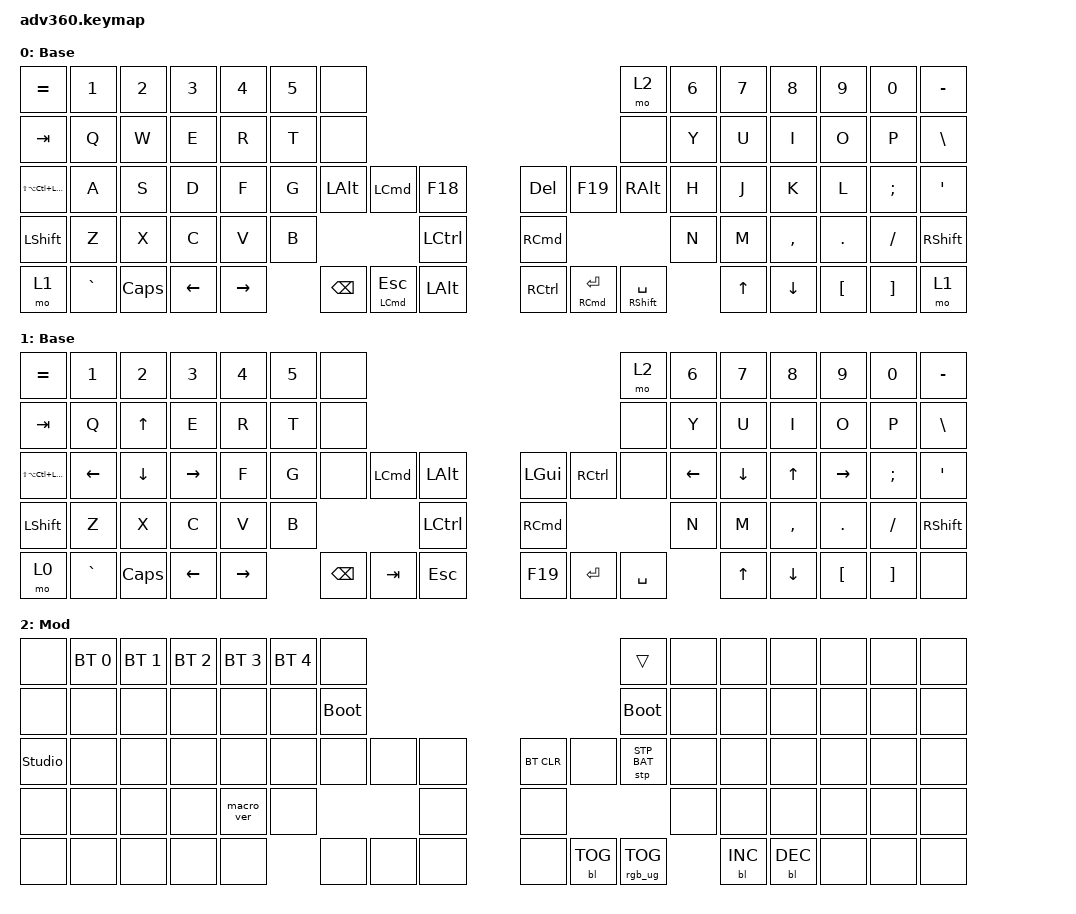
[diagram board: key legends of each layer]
#include <dt-bindings/zmk/stp.h>
#include <behaviors.dtsi>
#include <dt-bindings/zmk/backlight.h>
#include <dt-bindings/zmk/bt.h>
#include <dt-bindings/zmk/keys.h>
#include <dt-bindings/zmk/rgb.h>

/ {
    behaviors {
        #include "macros.dtsi"
      #include "version.dtsi"

        hm: homerow_mods {
            compatible = "zmk,behavior-hold-tap";
            label = "HOMEROW_MODS";
            #binding-cells = <2>;
            tapping-term-ms = <200>;
            quick_tap_ms = <175>;
            flavor = "tap-preferred";
            bindings = <&kp>, <&kp>;
        };
    };

    keymap {
        compatible = "zmk,keymap";

        default_layer {
            display-name = "Base";
            bindings = <
&kp EQUAL                     &kp N1     &kp N2    &kp N3    &kp N4     &kp N5  &none                                                                                                  &mo 2                  &kp N6  &kp N7  &kp N8     &kp N9    &kp N0    &kp MINUS
&kp TAB                       &kp Q      &kp W     &kp E     &kp R      &kp T   &none                                                                                                  &none                  &kp Y   &kp U   &kp I      &kp O     &kp P     &kp BSLH
&kp LS(LA(LC(LEFT_COMMAND)))  &kp A      &kp S     &kp D     &kp F      &kp G   &kp LEFT_ALT   &kp LEFT_COMMAND      &kp F18               &kp DEL            &kp F19                  &kp RIGHT_ALT          &kp H   &kp J   &kp K      &kp L     &kp SEMI  &kp SQT
&kp LSHFT                     &kp Z      &kp X     &kp C     &kp V      &kp B                                        &kp LEFT_CONTROL      &kp RIGHT_COMMAND                                                  &kp N   &kp M   &kp COMMA  &kp DOT   &kp FSLH  &kp RSHFT
&mo 1                         &kp GRAVE  &kp CAPS  &kp LEFT  &kp RIGHT          &kp BACKSPACE  &mt LEFT_COMMAND ESC  &kp LEFT_ALT          &kp RCTRL          &mt RIGHT_COMMAND ENTER  &mt RIGHT_SHIFT SPACE          &kp UP  &kp DOWN   &kp LBKT  &kp RBKT  &mo 1
            >;
        };

        hjklarrow {
            display-name = "Base";
            bindings = <
&kp EQUAL                     &kp N1          &kp N2          &kp N3           &kp N4     &kp N5  &none                                                                                   &mo 2      &kp N6          &kp N7    &kp N8     &kp N9     &kp N0    &kp MINUS
&kp TAB                       &kp Q           &kp UP_ARROW    &kp E            &kp R      &kp T   &none                                                                                   &none      &kp Y           &kp U     &kp I      &kp O      &kp P     &kp BSLH
&kp LS(LA(LC(LEFT_COMMAND)))  &kp LEFT_ARROW  &kp DOWN_ARROW  &kp RIGHT_ARROW  &kp F      &kp G   &none     &kp LEFT_COMMAND  &kp LEFT_ALT          &kp LGUI           &kp RIGHT_CONTROL  &none      &kp LEFT_ARROW  &kp DOWN  &kp UP     &kp RIGHT  &kp SEMI  &kp SQT
&kp LSHFT                     &kp Z           &kp X           &kp C            &kp V      &kp B                               &kp LEFT_CONTROL      &kp RIGHT_COMMAND                                &kp N           &kp M     &kp COMMA  &kp DOT    &kp FSLH  &kp RSHFT
&mo 0                         &kp GRAVE       &kp CAPS        &kp LEFT         &kp RIGHT          &kp BSPC  &kp TAB           &kp ESC               &kp F19            &kp ENTER          &kp SPACE                  &kp UP    &kp DOWN   &kp LBKT   &kp RBKT  &none
            >;
        };

        mod {
            display-name = "Mod";
            bindings = <
&none           &bt BT_SEL 0  &bt BT_SEL 1  &bt BT_SEL 2  &bt BT_SEL 3  &bt BT_SEL 4  &none                                                  &trans           &none  &none       &none       &none  &none  &none
&none           &none         &none         &none         &none         &none         &bootloader                                            &bootloader      &none  &none       &none       &none  &none  &none
&studio_unlock  &none         &none         &none         &none         &none         &none        &none  &none      &bt BT_CLR  &none       &stp STP_BAT     &none  &none       &none       &none  &none  &none
&none           &none         &none         &none         &macro_ver    &none                             &none      &none                                    &none  &none       &none       &none  &none  &none
&none           &none         &none         &none         &none                       &none        &none  &none      &none       &bl BL_TOG  &rgb_ug RGB_TOG         &bl BL_INC  &bl BL_DEC  &none  &none  &none
            >;
        };
    };
};
